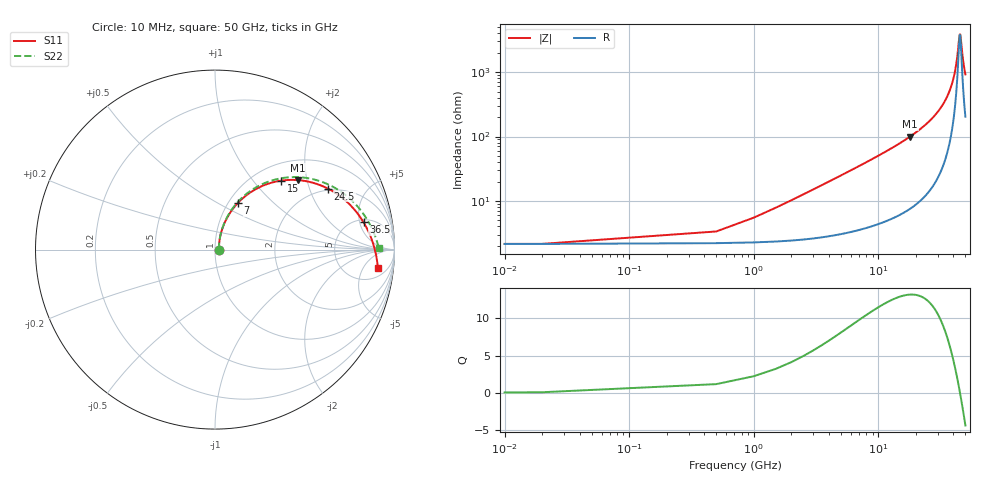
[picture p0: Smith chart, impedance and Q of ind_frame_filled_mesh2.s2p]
! Created with skrf 2.1.0 (http://scikit-rf.org).
# GHz S DB R 50.0
! Port[1] = P1
! Port[2] = P2
!freq dBS11 angS11 dBS21 angS21 dBS12 angS12 dBS22 angS22
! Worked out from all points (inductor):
!   102 points, 10 MHz to 50 GHz, reference 50 ohm
!   read as 1/Y11, port 2 shorted: L = 788 pH near 1.5 GHz
!   highest Q = 13.2 at 18 GHz (marker M1), where L = 882 pH
!   self-resonance near 45 GHz
!   S11 on the Smith chart (normalised r, x): 10 MHz: 1.04, +0.00; 7 GHz: 1.11, +0.63; 15 GHz: 1.31, +1.41; 24.5 GHz: 1.94, +2.69; 36.5 GHz: 5.52, +5.75; 50 GHz: 9, -11
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0.01  -33.56 1.2  -0.18 -0.0  -0.18 -0.0  -33.56 1.2
0.5  -30.22 44.4  -0.19 -1.6  -0.19 -1.6  -30.22 44.5
1  -26.18 60.7  -0.21 -3.1  -0.21 -3.1  -26.18 60.8
1.5  -23.18 67.0  -0.23 -4.6  -0.23 -4.6  -23.18 67.1
2  -20.89 69.6  -0.25 -6.1  -0.25 -6.1  -20.90 69.8
2.5  -19.08 70.6  -0.28 -7.5  -0.28 -7.5  -19.08 70.8
3.5  -16.32 70.4  -0.35 -10.4  -0.35 -10.4  -16.33 70.8
4.5  -14.28 69.0  -0.43 -13.2  -0.43 -13.2  -14.29 69.5
5.5  -12.67 67.1  -0.52 -16.0  -0.52 -16.0  -12.68 67.8
7  -10.79 63.9  -0.68 -20.0  -0.68 -20.0  -10.80 64.7
8.5  -9.32 60.5  -0.87 -23.9  -0.87 -23.9  -9.33 61.5
11.5  -7.17 53.7  -1.31 -31.2  -1.31 -31.2  -7.19 55.1
15  -5.46 46.1  -1.89 -39.1  -1.89 -39.1  -5.48 47.9
17  -4.73 42.0  -2.25 -43.2  -2.25 -43.2  -4.74 44.1
18  -4.41 40.1  -2.44 -45.2  -2.44 -45.2  -4.43 42.3
24.5  -2.91 28.3  -3.71 -57.0  -3.71 -57.0  -2.92 31.4
25.5  -2.74 26.7  -3.92 -58.6  -3.92 -58.6  -2.75 29.8
29.5  -2.18 20.4  -4.74 -64.8  -4.74 -64.8  -2.19 24.1
33.5  -1.75 14.5  -5.57 -70.5  -5.57 -70.5  -1.76 18.9
36.5  -1.50 10.4  -6.19 -74.5  -6.19 -74.5  -1.51 15.2
42  -1.14 3.3  -7.36 -81.3  -7.36 -81.3  -1.15 8.9
50  -0.79 -6.4  -9.14 -90.4  -9.14 -90.4  -0.80 0.6
